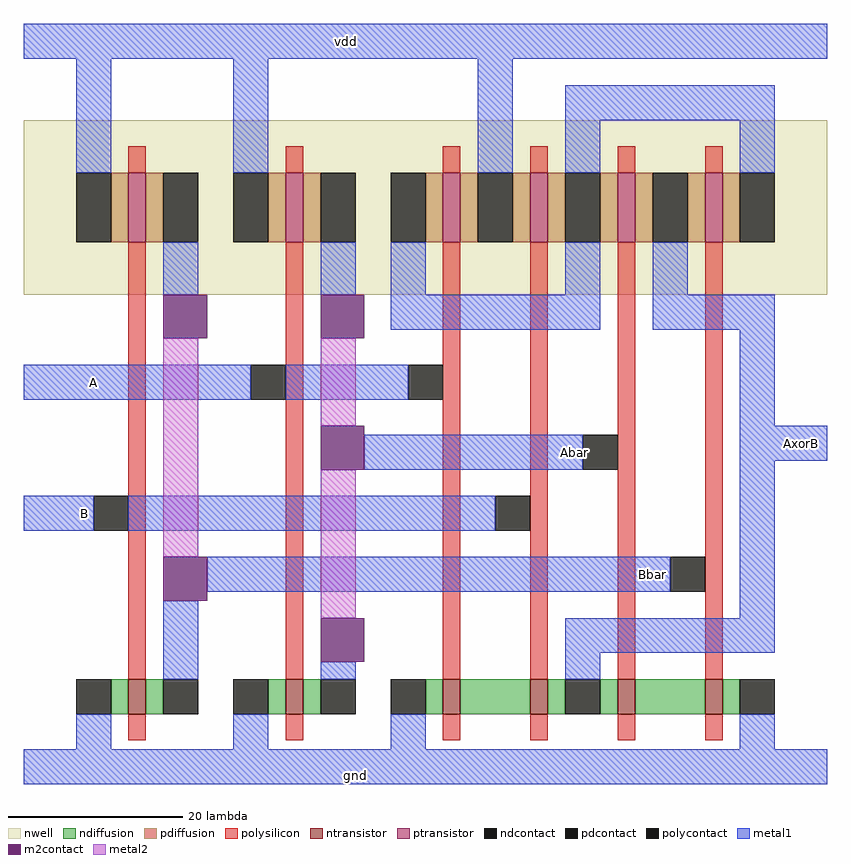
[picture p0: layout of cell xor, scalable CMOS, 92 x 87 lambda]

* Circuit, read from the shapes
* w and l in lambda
.subckt xor A Abar AxorB B Bbar gnd vdd
M1 Bbar B gnd VSUBS nfet w=4 l=2
M2 Abar A gnd VSUBS nfet w=4 l=2
M3 n1 A gnd VSUBS nfet w=4 l=2
M4 AxorB B n1 VSUBS nfet w=4 l=2
M5 n2 Abar AxorB VSUBS nfet w=4 l=2
M6 gnd Bbar n2 VSUBS nfet w=4 l=2
M7 Bbar B vdd n3 pfet w=8 l=2
M8 Abar A vdd n3 pfet w=8 l=2
M9 vdd A n4 n3 pfet w=8 l=2
M10 n4 B vdd n3 pfet w=8 l=2
M11 AxorB Abar n4 n3 pfet w=8 l=2
M12 n4 Bbar AxorB n3 pfet w=8 l=2
.ends

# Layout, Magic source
magic
tech scmos
<< nwell >>
rect -35 0 57 20
<< ntransistor >>
rect -23 -48 -21 -44
rect -5 -48 -3 -44
rect 13 -48 15 -44
rect 23 -48 25 -44
rect 33 -48 35 -44
rect 43 -48 45 -44
<< ptransistor >>
rect -23 6 -21 14
rect -5 6 -3 14
rect 13 6 15 14
rect 23 6 25 14
rect 33 6 35 14
rect 43 6 45 14
<< ndiffusion >>
rect -25 -48 -23 -44
rect -21 -48 -19 -44
rect -7 -48 -5 -44
rect -3 -48 -1 -44
rect 11 -48 13 -44
rect 15 -48 23 -44
rect 25 -48 27 -44
rect 31 -48 33 -44
rect 35 -48 43 -44
rect 45 -48 47 -44
<< pdiffusion >>
rect -25 6 -23 14
rect -21 6 -19 14
rect -7 6 -5 14
rect -3 6 -1 14
rect 11 6 13 14
rect 15 6 17 14
rect 21 6 23 14
rect 25 6 27 14
rect 31 6 33 14
rect 35 6 37 14
rect 41 6 43 14
rect 45 6 47 14
<< ndcontact >>
rect -29 -48 -25 -44
rect -19 -48 -15 -44
rect -11 -48 -7 -44
rect -1 -48 3 -44
rect 7 -48 11 -44
rect 27 -48 31 -44
rect 47 -48 51 -44
<< pdcontact >>
rect -29 6 -25 14
rect -19 6 -15 14
rect -11 6 -7 14
rect -1 6 3 14
rect 7 6 11 14
rect 17 6 21 14
rect 27 6 31 14
rect 37 6 41 14
rect 47 6 51 14
<< polysilicon >>
rect -23 14 -21 17
rect -5 14 -3 17
rect 13 14 15 17
rect 23 14 25 17
rect 33 14 35 17
rect 43 14 45 17
rect -23 -44 -21 6
rect -5 -44 -3 6
rect 13 -44 15 6
rect 23 -44 25 6
rect 33 -44 35 6
rect 43 -44 45 6
rect -23 -51 -21 -48
rect -5 -51 -3 -48
rect 13 -51 15 -48
rect 23 -51 25 -48
rect 33 -51 35 -48
rect 43 -51 45 -48
<< polycontact >>
rect -27 -27 -23 -23
rect -9 -12 -5 -8
rect 9 -12 13 -8
rect 19 -27 23 -23
rect 29 -20 33 -16
rect 39 -34 43 -30
<< metal1 >>
rect -35 27 57 31
rect -29 14 -25 27
rect -11 14 -7 27
rect 17 14 21 27
rect -19 0 -15 6
rect -1 0 3 6
rect 27 20 51 24
rect 27 14 31 20
rect 47 14 51 20
rect 7 0 11 6
rect 27 0 31 6
rect 7 -4 31 0
rect 37 0 41 6
rect 37 -4 51 0
rect -35 -12 -9 -8
rect -5 -12 9 -8
rect 47 -15 51 -4
rect 4 -20 29 -16
rect 47 -19 57 -15
rect -35 -27 -27 -23
rect -23 -27 19 -23
rect -14 -34 39 -30
rect -19 -44 -15 -35
rect 47 -37 51 -19
rect 27 -41 51 -37
rect -1 -44 3 -42
rect 27 -44 31 -41
rect -29 -52 -25 -48
rect -11 -52 -7 -48
rect 7 -52 11 -48
rect 47 -52 51 -48
rect -35 -56 57 -52
<< m2contact >>
rect -19 -5 -14 0
rect -1 -5 4 0
rect -1 -20 4 -15
rect -19 -35 -14 -30
rect -1 -42 4 -37
<< metal2 >>
rect -19 -30 -15 -5
rect -1 -15 3 -5
rect -1 -37 3 -20
<< labels >>
rlabel metal1 28 -18 28 -18 1 Abar
rlabel metal1 2 29 2 29 4 vdd
rlabel metal1 -27 -10 -27 -10 1 A
rlabel metal1 -28 -25 -28 -25 1 B
rlabel metal1 3 -55 3 -55 2 gnd
rlabel metal1 37 -32 37 -32 1 Bbar
rlabel metal1 54 -17 54 -17 7 AxorB
<< end >>
